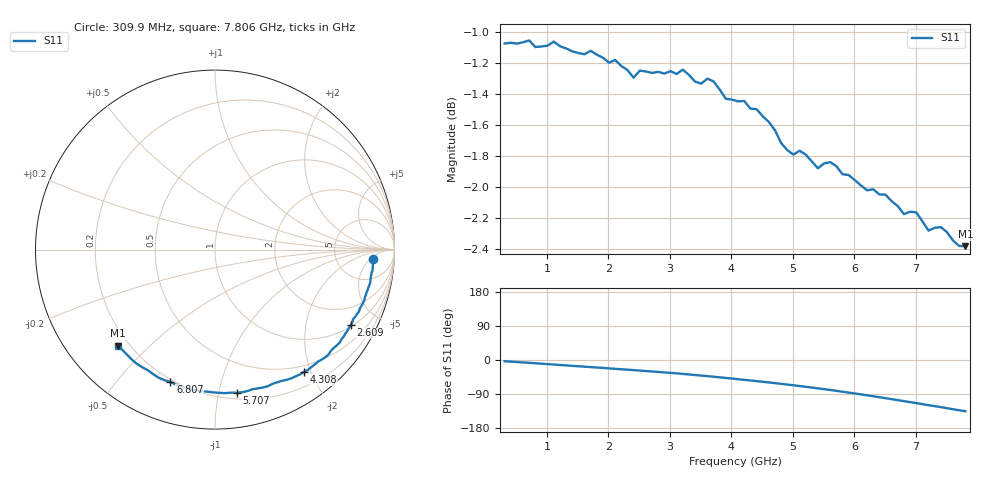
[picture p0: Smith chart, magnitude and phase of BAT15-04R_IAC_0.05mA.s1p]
! Infineon Technologies  Discrete & RF Semiconductors
! BAT15-04R
! IAC = 0.05 mA
! One-Port S-Parameters
# Hz  S  MA  R  50
!f  S11
!Hz  Mag  Ang
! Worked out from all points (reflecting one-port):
!   76 points, 309.9 MHz to 7.806 GHz, reference 50 ohm
!   lowest |S11| = -2.4 dB at 7.806 GHz (marker M1), VSWR 7.35, Z = 7.93 - j20.1 ohm
!   phase of S11 starts at -3 deg and turns -132 deg over the sweep
!   S11 on the Smith chart (normalised r, x): 309.9 MHz: 13, -6; 2.609 GHz: 1.06, -3.55; 4.308 GHz: 0.41, -1.90; 5.707 GHz: 0.25, -1.13; 6.807 GHz: 0.19, -0.70; 7.806 GHz: 0.16, -0.40
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3.0985e8  0.8836 -3.2
7.0965e8  0.8856 -7.5
8.096e8  0.8813 -8.6
1.10945e9  0.8848 -12.0
1.30935e9  0.8804 -14.3
1.70915e9  0.8788 -18.7
2.2089e9  0.869 -24.4
2.4088e9  0.8615 -26.7
2.6087e9  0.8655 -29.1
3.2084e9  0.8666 -36.7
3.70815e9  0.8591 -44.2
4.10795e9  0.8465 -50.7
4.30785e9  0.842 -53.9
4.6077e9  0.8337 -59.2
5.0075e9  0.8137 -66.7
5.2074e9  0.8138 -70.6
5.4073e9  0.8055 -74.9
5.6072e9  0.8092 -79.1
5.70715e9  0.8068 -81.4
6.007e9  0.7985 -88.3
6.30685e9  0.7931 -95.7
6.50675e9  0.79 -100.7
6.8066e9  0.7786 -108.6
6.90655e9  0.78 -111.1
7.0065e9  0.7797 -113.7
7.2064e9  0.7692 -119.3
7.4063e9  0.7712 -124.4
7.8061e9  0.7603 -135.3
